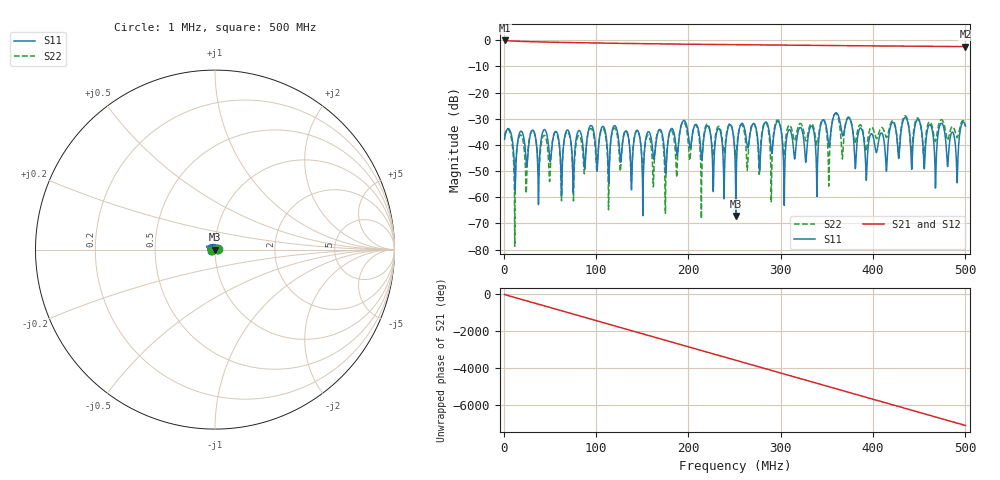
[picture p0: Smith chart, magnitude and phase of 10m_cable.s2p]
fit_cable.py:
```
import skrf as rf

from models.lines import PhysicalCoaxial
from pmrf.parameters import Normal, Uniform, Fixed
from pmrf.fitting import ScipyMinimizeFitter, OptaxFitter
from pmrf.fitting import Feature

# Load the measured data
measured = rf.Network('examples/data/10m_cable.s2p', f_unit='MHz')

# Define parameters/bounds and initialize the model
wa, wb = 0.8, 1.2
params = {
    'din': Uniform(1.12e-3*wa, 1.12e-3*wb),
    'dout': Uniform(3.2e-3*wa, 3.2e-3*wb),
    'length': Uniform(10*wa, 10*wb),
    'epr': Uniform(1.45*wa, 1.45*wb),
    'tand': Uniform(0.0, 0.1),
    'rho': Uniform(1.6e-8*wa, 1.6e-8*wb),
}
model = PhysicalCoaxial().with_params(params, all_check=True)


# features = [
#     Feature(mode='complex', ports=(0, 0)), Feature(mode='magnitude', ports=(0, 0)),
#     Feature(mode='complex', ports=(0, 1)), Feature(mode='magnitude', ports=(0, 1)),
#     Feature(mode='complex', ports=(1, 0)), Feature(mode='magnitude', ports=(1, 0)),
#     Feature(mode='complex', ports=(1, 1)), Feature(mode='magnitude', ports=(1, 1))
# ]

features = ['s11', 's11_mag', 's12', 's12_mag', 's21', 's21_mag', 's22', 's22_mag']

fitter = ScipyMinimizeFitter(
    model=model,
    measured=measured,
    params=params,
    features=features,
)

fitter.run()
```
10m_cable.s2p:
! MS46122B
! 1746301/73750021
! 11/1/2023 4:11:00 PM
! C:\USERS\SPEGWAL\DOWNLOADS\SAURABH\REACH\NODES\FRONT END\MEASUREMENTS\MEASURED S-PARAMETERS_01-11-2023\CABLES\10M_P1A1-P2A2.S2P
! CHANNEL.1
! TR.MEASUREMENT
! CORRECTED.DATA
# GHZ S RI R 50.0
! FREQ.GHZ  S11RE  S11IM  S21RE  S21IM  S12RE  S12IM  S22RE  S22IM
!; PortSelection: Port_12
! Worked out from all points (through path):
!   2001 points, 1 MHz to 500 MHz, reference 50 ohm
!   highest |S21| = -0.10 dB at 1.25 MHz (marker M1); lowest = -2.4 dB at 500 MHz (marker M2)
!   group delay of S21, straight-line fit = 39.6 ns
!   lowest |S11| = -67.1 dB at 251.5 MHz (marker M3), VSWR 1.00, Z = 50 - j0.0439 ohm
!   |S11| at or under -10 dB: start of sweep to end of sweep
!   |S22| runs from -78.7 to -28.0 dB; largest |S21 - S12| = 0.0043
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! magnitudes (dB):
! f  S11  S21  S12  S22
! 1 MHz  -37.9  -0.1  -0.1  -36.7
! 1.25 MHz  -37.1  -0.1  -0.1  -36.2
! 11.98 MHz  -53.7  -0.4  -0.4  -78.7
! 31.19 MHz  -34.4  -0.6  -0.6  -34.4
! 175.2 MHz  -49.7  -1.4  -1.4  -66.1
! 195.1 MHz  -30.6  -1.5  -1.5  -31.3
! 250.5 MHz  -45.0  -1.7  -1.7  -42.5
! 251.5 MHz  -67.1  -1.7  -1.7  -44.9
! 258 MHz  -31.8  -1.7  -1.7  -32.3
! 303.9 MHz  -63.1  -1.9  -1.9  -43.3
! 500 MHz  -32.8  -2.4  -2.4  -32.6
